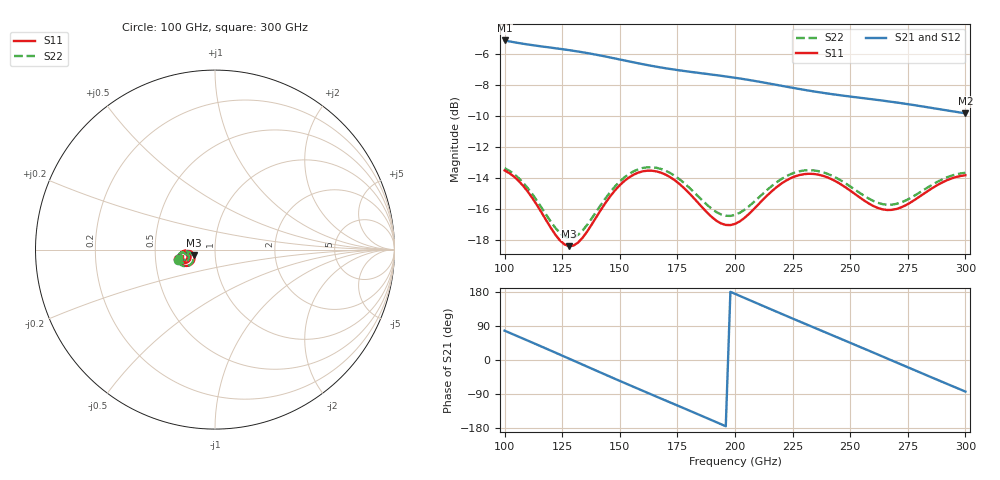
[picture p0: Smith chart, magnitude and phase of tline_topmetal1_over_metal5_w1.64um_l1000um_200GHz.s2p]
#  GHZ S DB R 50
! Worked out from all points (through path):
!   101 points, 100 GHz to 300 GHz, reference 50 ohm
!   highest |S21| = -5.15 dB at 100 GHz (marker M1); lowest = -9.8 dB at 300 GHz (marker M2)
!   group delay of S21, straight-line fit = 7.23 ps
!   lowest |S11| = -18.4 dB at 128 GHz (marker M3), VSWR 1.27, Z = 39.5 - j2.62 ohm
!   |S11| at or under -10 dB: start of sweep to end of sweep
!   |S22| runs from -17.9 to -13.3 dB; largest |S21 - S12| = 9e-15
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100  -13.51 -166.2  -5.15 77.4  -5.15 77.4  -13.36 -164.8
108  -14.49 -175.1  -5.36 56.5  -5.36 56.5  -14.29 -173.3
116  -16.20 -178.6  -5.53 35.5  -5.53 35.5  -15.89 -176.5
128  -18.37 -164.3  -5.77 3.5  -5.77 3.5  -17.85 -163.5
134  -17.80 -153.5  -5.91 -12.6  -5.91 -12.6  -17.34 -153.6
144  -15.55 -148.3  -6.19 -39.3  -6.19 -39.3  -15.25 -148.7
152  -14.18 -153.1  -6.43 -60.4  -6.43 -60.4  -13.95 -153.1
160  -13.56 -160.8  -6.67 -81.3  -6.67 -81.3  -13.34 -160.4
168  -13.66 -168.8  -6.89 -102.0  -6.89 -102.0  -13.41 -167.9
176  -14.39 -174.9  -7.07 -122.7  -7.07 -122.7  -14.08 -173.7
186  -15.91 -176.3  -7.27 -148.6  -7.27 -148.6  -15.46 -175.0
200  -16.94 -162.8  -7.55 174.7  -7.55 174.7  -16.36 -163.3
208  -16.02 -156.2  -7.74 153.6  -7.74 153.6  -15.56 -157.6
218  -14.59 -156.6  -8.00 127.5  -8.00 127.5  -14.27 -157.9
226  -13.89 -161.2  -8.22 106.9  -8.22 106.9  -13.64 -162.2
234  -13.73 -166.9  -8.42 86.3  -8.42 86.3  -13.50 -167.6
242  -14.07 -171.9  -8.60 65.9  -8.60 65.9  -13.84 -172.3
252  -15.01 -174.5  -8.79 40.3  -8.79 40.3  -14.73 -174.7
268  -16.04 -166.4  -9.09 -1.0  -9.09 -1.0  -15.71 -167.1
276  -15.58 -161.4  -9.27 -21.8  -9.27 -21.8  -15.29 -162.5
286  -14.61 -160.4  -9.50 -47.6  -9.50 -47.6  -14.39 -161.5
300  -13.81 -166.0  -9.83 -83.3  -9.83 -83.3  -13.66 -166.9
